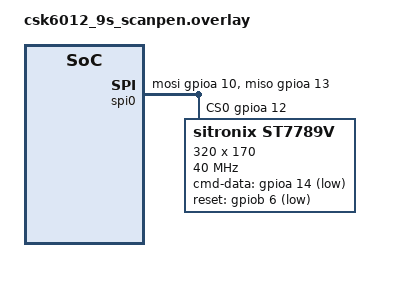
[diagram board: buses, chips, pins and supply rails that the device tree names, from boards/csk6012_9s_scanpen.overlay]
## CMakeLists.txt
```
# SPDX-License-Identifier: Apache-2.0

cmake_minimum_required(VERSION 3.20.0)

find_package(Zephyr REQUIRED HINTS $ENV{ZEPHYR_BASE})
project(lvgl)

include($ENV{MICROPY_SDK}/ports/zephyr/lib_micropython.cmake)

target_sources(app PRIVATE
    ${MPY_APP_SRC}
    src/main.c
    src/scan_pen_font.c
    src/noto_18.c
)

target_include_directories(app PRIVATE
    ${MPY_APP_INCLUDE}
)

target_include_directories(app PRIVATE src/)

target_link_libraries(app PRIVATE ${MICROPY_TARGET})
```

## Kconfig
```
source "$MICROPY_SDK/ports/zephyr/Kconfig"
```

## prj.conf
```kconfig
CONFIG_BUILD_OUTPUT_BIN=y
CONFIG_REBOOT=y

CONFIG_STDOUT_CONSOLE=y
CONFIG_CONSOLE_HANDLER=y
CONFIG_UART_CONSOLE_DEBUG_SERVER_HOOKS=y

CONFIG_CONSOLE_SUBSYS=y
CONFIG_CONSOLE_GETCHAR=y
CONFIG_CONSOLE_GETCHAR_BUFSIZE=128
CONFIG_CONSOLE_PUTCHAR_BUFSIZE=128

CONFIG_NEWLIB_LIBC=y
CONFIG_FPU=y
CONFIG_MAIN_STACK_SIZE=4736
CONFIG_POLL=y

# Enable sensor subsystem (doesn't add code if not used).
# Specific sensors should be enabled per-board.
CONFIG_SENSOR=y

# Networking config
# CONFIG_NETWORKING=y
# CONFIG_NET_IPV4=y
# CONFIG_NET_IPV6=y
# CONFIG_NET_UDP=y
# CONFIG_NET_TCP=y
# CONFIG_NET_SOCKETS=y
# CONFIG_NET_SOCKETS_POSIX_NAMES=n
# CONFIG_TEST_RANDOM_GENERATOR=y

# CONFIG_NET_CONFIG_SETTINGS=y
# CONFIG_NET_CONFIG_INIT_TIMEOUT=3
# CONFIG_NET_CONFIG_NEED_IPV6=y
# CONFIG_NET_CONFIG_NEED_IPV4=y

# # DNS
# CONFIG_DNS_RESOLVER=y
# CONFIG_DNS_RESOLVER_ADDITIONAL_QUERIES=2
# CONFIG_DNS_SERVER_IP_ADDRESSES=y

# Static IP addresses
# CONFIG_NET_CONFIG_MY_IPV6_ADDR="2001:db8::1"
# CONFIG_NET_CONFIG_MY_IPV4_ADDR="192.0.2.1"
# CONFIG_NET_CONFIG_MY_IPV4_GW="192.0.2.2"
# CONFIG_DNS_SERVER1="192.0.2.2"

# DHCP configuration. Until DHCP address is assigned,
# static configuration above is used instead.
# CONFIG_NET_DHCPV4=y

# Diagnostics and debugging

# Required for zephyr.stack_analyze()
CONFIG_THREAD_ANALYZER=y
CONFIG_THREAD_ANALYZER_USE_PRINTK=y
CONFIG_THREAD_NAME=y

# Required for usocket.pkt_get_info()
CONFIG_NET_BUF_POOL_USAGE=y

# Required for zephyr.shell_exec()
#CONFIG_SHELL=y
#CONFIG_SHELL_BACKEND_SERIAL_INTERRUPT_DRIVEN=n

# Required for zephyr.shell_exec("net iface")
#CONFIG_NET_SHELL=y

# Uncomment to enable "INFO" level net_buf logging
#CONFIG_NET_LOG=y
#CONFIG_NET_DEBUG_NET_BUF=y
# Change to 4 for "DEBUG" level
#CONFIG_SYS_LOG_NET_LEVEL=3

# MicroPython options
CONFIG_MICROPY_CONFIGFILE="mpconfigport.h"
# CONFIG_MICROPY_VFS_FAT=y
CONFIG_MICROPY_VFS_LFS2=y


CONFIG_LV_USE_FREETYPE=y



# 开发板的TP是 BL6XXX
CONFIG_LVGL_POINTER_KSCAN_DEV_NAME="BL6XXX"
# 打开LVGL的KSCAN开关
CONFIG_LVGL_POINTER_KSCAN=y
CONFIG_KSCAN=y
CONFIG_I2C=y
CONFIG_KSCAN_BL6XXX=y

# x, y 要反向
#CONFIG_LV_Z_POINTER_KSCAN_SWAP_XY=y

# CONFIG_LV_Z_ROTATED_90=y

CONFIG_LV_Z_POINTER_KSCAN_MSGQ_COUNT=20


# 色彩转换
# CONFIG_LVGL_COLOR_DEPTH_16=y

# CONFIG_LVGL_COLOR_16_SWAP=y
```

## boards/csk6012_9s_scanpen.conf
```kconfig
CONFIG_STDOUT_CONSOLE=n

CONFIG_HEAP_MEM_POOL_SIZE=8192
CONFIG_MAIN_STACK_SIZE=20480
CONFIG_LOG_BUFFER_SIZE=1024
CONFIG_LOG_STRDUP_BUF_COUNT=256

CONFIG_GPIO=y
CONFIG_SPI=y
CONFIG_I2C=y
CONFIG_PWM=y

CONFIG_FILE_SYSTEM=y
CONFIG_FILE_SYSTEM_LITTLEFS=y

CONFIG_MICROPY_VFS_FAT=n
CONFIG_MICROPY_VFS_LFS1=y
CONFIG_MICROPY_VFS_LFS2=y

CONFIG_FLASH=y
CONFIG_FLASH_MAP=y
CONFIG_MPU_ALLOW_FLASH_WRITE=y
CONFIG_FLASH_PAGE_LAYOUT=y

CONFIG_DISK_ACCESS=y

# Debug
# CONFIG_THREAD_ANALYZER=y
# CONFIG_THREAD_ANALYZER_USE_PRINTK=y
# CONFIG_THREAD_ANALYZER_AUTO=y
# CONFIG_THREAD_ANALYZER_AUTO_INTERVAL=5
# CONFIG_THREAD_RUNTIME_STATS=y
# CONFIG_THREAD_NAME=y

# Display
CONFIG_DISPLAY=y
CONFIG_ST7789V=y

# KSCAN
CONFIG_KSCAN_BL6XXX=y
CONFIG_KSCAN_CSK6=y
CONFIG_KSCAN_CSK6=y

# LV_BINDING
CONFIG_MPY_LVGL=y
CONFIG_LV_MEM_CUSTOM=y
CONFIG_LV_Z_DISPLAY_DEV_NAME="ST7789V"
CONFIG_LV_Z_USE_FILESYSTEM=y
CONFIG_LV_Z_POINTER_KSCAN=y
CONFIG_LV_Z_POINTER_KSCAN_DEV_NAME="BL6XXX"
CONFIG_LV_Z_HOR_RES_MAX=320
CONFIG_LV_Z_VER_RES_MAX=170

CONFIG_LV_Z_POINTER_KSCAN_INVERT_Y=y

CONFIG_LV_Z_DOUBLE_VDB=y

CONFIG_LV_Z_MEM_POOL_PSRAM_HEAP=y
CONFIG_LV_Z_MEM_POOL_BASE_ADDRESS=812646400
CONFIG_LV_Z_MEM_POOL_MAX_SIZE=2097152


# CONFIG_LV_Z_USE_SW_ROTATED=y
# CONFIG_LV_Z_ROTATED=1

# LVGL
CONFIG_LV_DPI_DEF=100
CONFIG_LV_Z_BITS_PER_PIXEL=16
CONFIG_LV_Z_VDB_SIZE=50

CONFIG_LV_Z_POINTER_KSCAN_MSGQ_COUNT=1
# CONFIG_LV_COLOR_DEPTH_16=y

CONFIG_LV_DISP_DEF_REFR_PERIOD=20
CONFIG_LV_INDEV_DEF_READ_PERIOD=10

# LOG
CONFIG_LOG=y

CONFIG_MICROPY_CONFIGFILE="mpconfigport_full.h"


# CONFIG_LVGL=y
CONFIG_LV_USE_DEMO_BENCHMARK=y

# CONFIG_LV_COLOR_DEPTH=16
# CONFIG_LV_COLOR_16_SWAP=y
```

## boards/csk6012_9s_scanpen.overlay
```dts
#include <dt-bindings/gpio/gpio.h>

/ {
	gpio,user {
		compatible = "listenai,csk-gpio-user";

		pwrlock: powerlock {
			gpios = <&gpiob 4 1>;
			label = "power_lock";
		};
	};
};

&spi0 {
		status = "okay";
		miso-gpios = <&gpioa 13 0>;
		mosi-gpios = <&gpioa 10 0>;
		sclk-gpios = <&gpioa 15 0>;
		//sclk-gpios = <&gpioa 11 0>;
		cs-gpios = <&gpioa 12 0>;

		st7789v@0 {
			compatible = "sitronix,st7789v";
			label = "ST7789V";
			status = "okay";
			spi-max-frequency = <40000000>;
			reg = <0>;
			cmd-data-gpios = <&gpioa 14 1>;
			reset-gpios = <&gpiob 6 1>;
			// reset-gpios = <&gpioa 15 1>;
			// te-gpios = <&gpiob 8 1>;
			pinmuxs = <&pinmuxa 14 1>, <&pinmuxb 6 0>;

			width = <320>;
			height = <170>;
			x-offset = <0>;
			y-offset = <35>;
			orientation = <1>;

			// teon = <0x00>;
			// ste = <0>;

			vcom = <0x1e>;
			frctrl2 = <0x05>;
			gctrl = <0x35>;
			vrhs = <0x0b>;
			vdvs = <0x20>;
			mdac = <0x04>;
			gamma = <0x01>;
			colmod = <0x55>;
			lcm = <0x2C>;
			porch-param = [0c 0c 00 33 33];
			cmd2en-param = [5a 69 02 01];
			pwctrl1-param = [a4 a1];
			pvgam-param = [d0 06 0b 07 07 24 2e 32 46 37 13 13 2d 33];
			nvgam-param = [d0 02 06 09 08 05 29 44 42 38 14 14 2a 30];
			ram-param = [00 F0];
			rgb-param = [CD 08 14];
		};
};
```

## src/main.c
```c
/*
 * Copyright (c) 2018 Jan Van Winkel <jan.van_winkel@dxplore.eu>
 *
 * SPDX-License-Identifier: Apache-2.0
 */

#include <device.h>
#include <drivers/display.h>
#include <drivers/pwm.h>
#include <drivers/pinmux.h>
#include <lvgl.h>
// #include "demos/lv_demos.h"
//#include "demos/benchmark/lv_demo_benchmark.h"
#include <stdio.h>
#include <string.h>
#include <zephyr.h>

#include <init.h>
#include <console/console.h>
#include <hal/PSRAMManager.h>

#include "lvgl_driver.h"

#include "devicetree.h"
#include <drivers/gpio.h>
#include <logging/log.h>

#include "scan_pen_font.h"

// #define LOG_LEVEL CONFIG_LOG_DEFAULT_LEVEL
// #include <logging/log.h>

// LOG_MODULE_REGISTER(app);

LOG_MODULE_REGISTER(main, LOG_LEVEL_INF);

#define SCROLL_HORIZONTAL 1

#define GPIO_A_01 1
#define GPIO_A_01_FUNC_SWDIO 0
#define GPIO_A_01_FUNC_PWM1 11

#if LV_USE_FLEX

static void sw_event_cb(lv_event_t *e)
{
	lv_event_code_t code = lv_event_get_code(e);
	lv_obj_t *sw = lv_event_get_target(e);

	if (code == LV_EVENT_VALUE_CHANGED) {
		lv_obj_t *list = lv_event_get_user_data(e);

		if (lv_obj_has_state(sw, LV_STATE_CHECKED))
			lv_obj_add_flag(list, LV_OBJ_FLAG_SCROLL_ONE);
		else
			lv_obj_clear_flag(list, LV_OBJ_FLAG_SCROLL_ONE);
	}
}

/**
 * Show an example to scroll snap
 */
void lv_example_scroll_2(void)
{
	lv_obj_t *panel = lv_obj_create(lv_scr_act());
	lv_obj_set_size(panel, lv_pct(100), lv_pct(100));
	lv_obj_set_scroll_snap_x(panel, LV_SCROLL_SNAP_CENTER);
#if SCROLL_HORIZONTAL
	lv_obj_set_flex_flow(panel, LV_FLEX_FLOW_ROW);
#else
	lv_obj_set_flex_flow(panel, LV_FLEX_FLOW_COLUMN);
#endif
	lv_obj_align(panel, LV_ALIGN_CENTER, 0, 0);

	uint32_t i;
	for (i = 0; i < 10; i++) {
		lv_obj_t *btn = lv_btn_create(panel);
#if SCROLL_HORIZONTAL
		lv_obj_set_size(btn, 150, lv_pct(100));
#else
		lv_obj_set_size(btn, lv_pct(100), 150);
#endif

		lv_obj_t *label = lv_label_create(btn);
		if (i == 3) {
			lv_label_set_text_fmt(label, "中文面板 %" LV_PRIu32 "\nno snap", i);
			lv_obj_clear_flag(btn, LV_OBJ_FLAG_SNAPPABLE);
		} else {
			lv_label_set_text_fmt(label, "中文面板 %" LV_PRIu32, i);
		}
		lv_label_set_cjk_font(label, 16);

		lv_obj_center(label);
	}
	lv_obj_update_snap(panel, LV_ANIM_ON);

#if 0
	/*Switch between "One scroll" and "Normal scroll" mode*/
	lv_obj_t *sw = lv_switch_create(lv_scr_act());
	lv_obj_align(sw, LV_ALIGN_TOP_RIGHT, -20, 10);
	lv_obj_add_event_cb(sw, sw_event_cb, LV_EVENT_ALL, panel);
	lv_obj_t *label = lv_label_create(lv_scr_act());
	lv_label_set_text(label, "One scroll");
	lv_obj_align_to(label, sw, LV_ALIGN_OUT_BOTTOM_MID, 0, 5);
#endif
}

#endif

#ifdef LV_USE_BTN

static void btn_event_cb(lv_event_t *e)
{
	lv_event_code_t code = lv_event_get_code(e);
	lv_obj_t *btn = lv_event_get_target(e);
	if (code == LV_EVENT_CLICKED) {
		static uint8_t cnt = 0;
		cnt++;

		/*Get the first child of the button which is the label and change its text*/
		lv_obj_t *label = lv_obj_get_child(btn, 0);
		lv_label_set_text_fmt(label, "Button: %d", cnt);
	}
}

/**
 * Create a button with a label and react on click event.
 */
void lv_example_get_started_1(void)
{
	lv_obj_t *btn = lv_btn_create(lv_scr_act()); /*Add a button the current screen*/
	lv_obj_set_pos(btn, 10, 10); /*Set its position*/
	lv_obj_set_size(btn, 120, 50); /*Set its size*/
	lv_obj_add_event_cb(btn, btn_event_cb, LV_EVENT_ALL,
			    NULL); /*Assign a callback to the button*/

	lv_obj_t *label = lv_label_create(btn); /*Add a label to the button*/
	lv_label_set_text(label, "Button"); /*Set the labels text*/
	lv_obj_center(label);
}

#endif

static int PSRAM_init(const struct device *unused)
{
	ARG_UNUSED(unused);
	PSRAM_Initialize();
	return 0;
}

SYS_INIT(PSRAM_init, PRE_KERNEL_2, 0);

void entry(void)
{
	uint32_t count = 0U;
	const struct device *display_dev;

	console_init();
	lvgl_init(NULL);

	init_font_engine();

	display_dev = device_get_binding(CONFIG_LV_Z_DISPLAY_DEV_NAME);

	if (display_dev == NULL) {
		printk("device not found.  Aborting test.");
		return;
	}

	//display_blanking_on(display_dev);
	lv_example_scroll_2();

	lv_task_handler();

	display_blanking_off(display_dev);

	const struct device *pinmuxa = DEVICE_DT_GET(DT_NODELABEL(pinmuxa));
	const struct device *pwmlcd = DEVICE_DT_GET(DT_NODELABEL(pwmlcd));
	pinmux_pin_set(pinmuxa, GPIO_A_01, GPIO_A_01_FUNC_PWM1);
	pwm_pin_set_nsec(pwmlcd, GPIO_A_01, 20000, 200, 1);

	while (1) {
		lv_task_handler();
		k_sleep(K_MSEC(10));
		++count;
	}
}

#define STACKSIZE (40 * 1024)
#define PRIORITY 7

K_THREAD_DEFINE(entry_id, STACKSIZE, entry, NULL, NULL, NULL,
		PRIORITY, 0, 0);
```

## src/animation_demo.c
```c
#include <drivers/display.h>
#include <lvgl.h>
#include "animation_demo.h"

static void anim_x_cb(void * var, int32_t v)
{
    lv_obj_set_x(var, v);
}

static void anim_size_cb(void * var, int32_t v)
{
    lv_obj_set_size(var, v, v);
}

/**
 * Create a playback animation
 */
void lv_example_anim_2(void)
{

    lv_obj_t * obj = lv_obj_create(lv_scr_act());
    lv_obj_set_style_bg_color(obj, lv_palette_main(LV_PALETTE_RED), 0);
    lv_obj_set_style_radius(obj, LV_RADIUS_CIRCLE, 0);

    lv_obj_align(obj, LV_ALIGN_LEFT_MID, 10, 0);

    lv_anim_t a;
    lv_anim_init(&a);
    lv_anim_set_var(&a, obj);
    lv_anim_set_values(&a, 10, 50);
    lv_anim_set_time(&a, 1000);
    lv_anim_set_playback_delay(&a, 100);
    lv_anim_set_playback_time(&a, 300);
    lv_anim_set_repeat_delay(&a, 500);
    lv_anim_set_repeat_count(&a, LV_ANIM_REPEAT_INFINITE);
    lv_anim_set_path_cb(&a, lv_anim_path_ease_in_out);

    lv_anim_set_exec_cb(&a, anim_size_cb);
    lv_anim_start(&a);
    lv_anim_set_exec_cb(&a, anim_x_cb);
    lv_anim_set_values(&a, 10, 240);
    lv_anim_start(&a);
}
```

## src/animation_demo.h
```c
void lv_example_anim_1();
void lv_example_anim_2();
```

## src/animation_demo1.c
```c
#include "animation_demo.h"

#include <drivers/display.h>
#include <lvgl.h>
#include <stdint.h>

static void anim_x_cb(void * var, int32_t v)
{
    lv_obj_set_x(var, v);
}

static void sw_event_cb(lv_event_t * e)
{
    lv_obj_t * sw = lv_event_get_target(e);
    lv_obj_t * label = lv_event_get_user_data(e);

    if(lv_obj_has_state(sw, LV_STATE_CHECKED)) {
        lv_anim_t a;
        lv_anim_init(&a);
        lv_anim_set_var(&a, label);
        lv_anim_set_values(&a, lv_obj_get_x(label), 100);
        lv_anim_set_time(&a, 500);
        lv_anim_set_exec_cb(&a, anim_x_cb);
        lv_anim_set_path_cb(&a, lv_anim_path_overshoot);
        lv_anim_start(&a);
    }
    else {
        lv_anim_t a;
        lv_anim_init(&a);
        lv_anim_set_var(&a, label);
        lv_anim_set_values(&a, lv_obj_get_x(label), -lv_obj_get_width(label));
        lv_anim_set_time(&a, 500);
        lv_anim_set_exec_cb(&a, anim_x_cb);
        lv_anim_set_path_cb(&a, lv_anim_path_ease_in);
        lv_anim_start(&a);
    }

}

/**
 * Start animation on an event
 */
void lv_example_anim_1(void)
{
    lv_obj_t * label = lv_label_create(lv_scr_act());
    lv_label_set_text(label, "Hello animations!");
    lv_obj_set_pos(label, 100, 10);


    lv_obj_t * sw = lv_switch_create(lv_scr_act());
    lv_obj_center(sw);
    lv_obj_add_state(sw, LV_STATE_CHECKED);
    lv_obj_add_event_cb(sw, sw_event_cb, LV_EVENT_VALUE_CHANGED, label);
}
```

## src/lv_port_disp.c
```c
/**
 * @file lv_port_disp_templ.c
 *
 */

/*Copy this file as "lv_port_disp.c" and set this value to "1" to enable content*/
#if 1

/*********************
 *      INCLUDES
 *********************/
#include "lv_port_disp.h"
#include "../../lvgl.h"

/*********************
 *      DEFINES
 *********************/

/**********************
 *      TYPEDEFS
 **********************/

/**********************
 *  STATIC PROTOTYPES
 **********************/
static void disp_init(void);

static void disp_flush(lv_disp_drv_t * disp_drv, const lv_area_t * area, lv_color_t * color_p);
//static void gpu_fill(lv_disp_drv_t * disp_drv, lv_color_t * dest_buf, lv_coord_t dest_width,
//        const lv_area_t * fill_area, lv_color_t color);

/**********************
 *  STATIC VARIABLES
 **********************/

/**********************
 *      MACROS
 **********************/

/**********************
 *   GLOBAL FUNCTIONS
 **********************/

void lv_port_disp_init(void)
{
    /*-------------------------
     * Initialize your display
     * -----------------------*/
    disp_init();

    /*-----------------------------
     * Create a buffer for drawing
     *----------------------------*/

    /**
     * LVGL requires a buffer where it internally draws the widgets.
     * Later this buffer will passed to your display driver's `flush_cb` to copy its content to your display.
     * The buffer has to be greater than 1 display row
     *
     * There are 3 buffering configurations:
     * 1. Create ONE buffer:
     *      LVGL will draw the display's content here and writes it to your display
     *
     * 2. Create TWO buffer:
     *      LVGL will draw the display's content to a buffer and writes it your display.
     *      You should use DMA to write the buffer's content to the display.
     *      It will enable LVGL to draw the next part of the screen to the other buffer while
     *      the data is being sent form the first buffer. It makes rendering and flushing parallel.
     *
     * 3. Double buffering
     *      Set 2 screens sized buffers and set disp_drv.full_refresh = 1.
     *      This way LVGL will always provide the whole rendered screen in `flush_cb`
     *      and you only need to change the frame buffer's address.
     */

    /* Example for 1) */
    static lv_disp_draw_buf_t draw_buf_dsc_1;
    static lv_color_t buf_1[MY_DISP_HOR_RES * 10];                          /*A buffer for 10 rows*/
    lv_disp_draw_buf_init(&draw_buf_dsc_1, buf_1, NULL, MY_DISP_HOR_RES * 10);   /*Initialize the display buffer*/

    /* Example for 2) */
    static lv_disp_draw_buf_t draw_buf_dsc_2;
    static lv_color_t buf_2_1[MY_DISP_HOR_RES * 10];                        /*A buffer for 10 rows*/
    static lv_color_t buf_2_2[MY_DISP_HOR_RES * 10];                        /*An other buffer for 10 rows*/
    lv_disp_draw_buf_init(&draw_buf_dsc_2, buf_2_1, buf_2_2, MY_DISP_HOR_RES * 10);   /*Initialize the display buffer*/

    /* Example for 3) also set disp_drv.full_refresh = 1 below*/
    static lv_disp_draw_buf_t draw_buf_dsc_3;
    static lv_color_t buf_3_1[MY_DISP_HOR_RES * MY_DISP_VER_RES];            /*A screen sized buffer*/
    static lv_color_t buf_3_2[MY_DISP_HOR_RES * MY_DISP_VER_RES];            /*Another screen sized buffer*/
    lv_disp_draw_buf_init(&draw_buf_dsc_3, buf_3_1, buf_3_2,
                          MY_DISP_VER_RES * LV_VER_RES_MAX);   /*Initialize the display buffer*/

    /*-----------------------------------
     * Register the display in LVGL
     *----------------------------------*/

    static lv_disp_drv_t disp_drv;                         /*Descriptor of a display driver*/
    lv_disp_drv_init(&disp_drv);                    /*Basic initialization*/

    /*Set up the functions to access to your display*/

    /*Set the resolution of the display*/
    disp_drv.hor_res = 480;
    disp_drv.ver_res = 320;

    /*Used to copy the buffer's content to the display*/
    disp_drv.flush_cb = disp_flush;

    /*Set a display buffer*/
    disp_drv.draw_buf = &draw_buf_dsc_1;

    /*Required for Example 3)*/
    //disp_drv.full_refresh = 1

    /* Fill a memory array with a color if you have GPU.
     * Note that, in lv_conf.h you can enable GPUs that has built-in support in LVGL.
     * But if you have a different GPU you can use with this callback.*/
    //disp_drv.gpu_fill_cb = gpu_fill;

    /*Finally register the driver*/
    lv_disp_drv_register(&disp_drv);
}

/**********************
 *   STATIC FUNCTIONS
 **********************/

/*Initialize your display and the required peripherals.*/
static void disp_init(void)
{
    /*You code here*/
}

/*Flush the content of the internal buffer the specific area on the display
 *You can use DMA or any hardware acceleration to do this operation in the background but
 *'lv_disp_flush_ready()' has to be called when finished.*/
static void disp_flush(lv_disp_drv_t * disp_drv, const lv_area_t * area, lv_color_t * color_p)
{
    /*The most simple case (but also the slowest) to put all pixels to the screen one-by-one*/

    int32_t x;
    int32_t y;
    for(y = area->y1; y <= area->y2; y++) {
        for(x = area->x1; x <= area->x2; x++) {
            /*Put a pixel to the display. For example:*/
            /*put_px(x, y, *color_p)*/
            color_p++;
        }
    }

    /*IMPORTANT!!!
     *Inform the graphics library that you are ready with the flushing*/
    lv_disp_flush_ready(disp_drv);
}

/*OPTIONAL: GPU INTERFACE*/

/*If your MCU has hardware accelerator (GPU) then you can use it to fill a memory with a color*/
//static void gpu_fill(lv_disp_drv_t * disp_drv, lv_color_t * dest_buf, lv_coord_t dest_width,
//                    const lv_area_t * fill_area, lv_color_t color)
//{
//    /*It's an example code which should be done by your GPU*/
//    int32_t x, y;
//    dest_buf += dest_width * fill_area->y1; /*Go to the first line*/
//
//    for(y = fill_area->y1; y <= fill_area->y2; y++) {
//        for(x = fill_area->x1; x <= fill_area->x2; x++) {
//            dest_buf[x] = color;
//        }
//        dest_buf+=dest_width;    /*Go to the next line*/
//    }
//}


#else /*Enable this file at the top*/

/*This dummy typedef exists purely to silence -Wpedantic.*/
typedef int keep_pedantic_happy;
#endif
```

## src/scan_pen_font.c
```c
#include <lvgl.h>

#define LOG_LEVEL 3
#include <logging/log.h>
LOG_MODULE_REGISTER(font_cache);

#define USE_BITMAP_FONT 1

#if !USE_BITMAP_FONT
struct font_cache {
	lv_ft_info_t info;
	uint16_t font_size;
	struct font_cache *next;
};

static struct font_cache cjk_cache;
#endif // USE_BITMAP_FONT

void init_font_engine(void)
{
#if !USE_BITMAP_FONT
	cjk_cache.next = NULL;
	cjk_cache.font_size = -1;
#endif // USE_BITMAP_FONT
}

#if !USE_BITMAP_FONT
static lv_ft_info_t generate_cjk_font_info(uint16_t font_size, uint16_t font_style)
{
	struct font_cache *temp = &cjk_cache;
	while (temp) {
		if (temp->font_size == font_size) {
			LOG_INF("hit font cache of size %d", font_size);
			return temp->info;
		}
		if (temp->next == NULL) {
			break;
		}
		temp = temp->next;
	}
	static lv_ft_info_t info;
	info.mem = 0x18000000 + 0x1C0000;
	info.mem_size = 2171336;
	info.weight = font_size;
	info.style = font_style;
	lv_ft_font_init(&info);

	struct font_cache *next = lv_mem_alloc(sizeof(struct font_cache));

	next->info = info;
	next->font_size = font_size;
	next->next = NULL;

	temp->next = next;
	LOG_INF("generate font for size %d", font_size);

	return info;
}

static void destroy_font_event_cb(lv_event_t *e)
{
	lv_obj_t *label = e->target;
	const lv_font_t *font = lv_obj_get_style_text_font(label, LV_PART_MAIN);
	lv_ft_font_destroy((lv_font_t *)font);
}
#endif // USE_BITMAP_FONT

#if USE_BITMAP_FONT
extern const lv_font_t noto_18;
#endif // USE_BITMAP_FONT

void lv_label_set_cjk_font(lv_obj_t *label, uint16_t font_size)
{
#if USE_BITMAP_FONT
	lv_obj_set_style_text_font(label, &noto_18, LV_PART_MAIN);
#else
	lv_ft_info_t info = generate_cjk_font_info(font_size, FT_FONT_STYLE_NORMAL);
	lv_obj_set_style_text_font(label, info.font, LV_PART_MAIN);
	lv_obj_add_event_cb(label, destroy_font_event_cb, LV_EVENT_DELETE, NULL);
#endif
}
```

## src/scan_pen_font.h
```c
#include <stdint.h>
#include <lvgl.h>

void init_font_engine(void);
void lv_label_set_cjk_font(lv_obj_t* label, uint16_t font_size);
```
